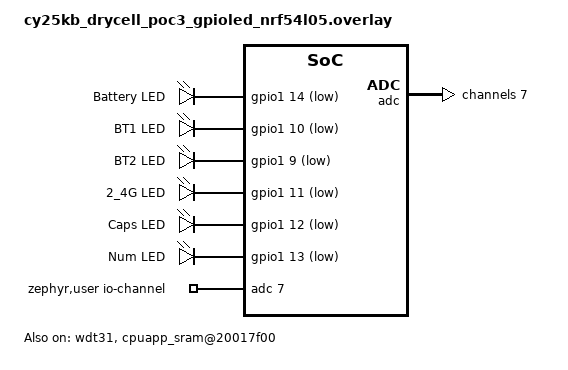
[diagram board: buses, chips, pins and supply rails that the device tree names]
/*
 * Copyright (c) 2024 Nordic Semiconductor ASA
 *
 * SPDX-License-Identifier: LicenseRef-Nordic-5-Clause
 */

/* For nRF54L, watchdog status is disabled by default. Needs to be enabled in DTS overlay. */
&wdt31 {
	status = "okay";
};

/* Application does not use cpuflpr core. Assign whole RRAM to cpuapp. */
&cpuapp_rram {
	reg = < 0x0 DT_SIZE_K(500) >;
};

/ {
	/delete-node/ pwmleds;
    /delete-node/ aliases;
    /delete-node/ buttons;
    /delete-node/ leds;

	leds0 {
		compatible = "gpio-leds";
		status = "okay";
		led0: led_0 {
			gpios = < &gpio1 14 GPIO_ACTIVE_LOW >;
			label = "Battery LED";
		};
	};

	leds1 {
		compatible = "gpio-leds";
		status = "okay";
		led1: led_1 {
			gpios = < &gpio1 10 GPIO_ACTIVE_LOW >;
			label = "BT1 LED";
		};
	};

	leds2 {
		compatible = "gpio-leds";
		status = "okay";
		led2: led_2 {
			gpios = < &gpio1 9 GPIO_ACTIVE_LOW >;
			label = "BT2 LED";
		};
	};

	leds3 {
		compatible = "gpio-leds";
		status = "okay";
		led3: led_3 {
			gpios = < &gpio1 11 GPIO_ACTIVE_LOW >;
			label = "2_4G LED";
		};
	};

	leds4 {
		compatible = "gpio-leds";
		status = "okay";
		led4: led_4 {
			gpios = < &gpio1 12 GPIO_ACTIVE_LOW >;
			label = "Caps LED";
		};
	};

	leds5 {
		compatible = "gpio-leds";
		status = "okay";
		led5: led_5 {
			gpios = < &gpio1 13 GPIO_ACTIVE_LOW >;
			label = "Num LED";
		};
	};
};

&uicr {
    nfct-pins-as-gpios;
};

&uart20 {
    status = "disabled";
};

&spi00 {
    status = "disabled";
};

/ {
	zephyr,user {
		io-channels = <&adc 7>;
	};
};

&adc {
	#address-cells = <1>;
	#size-cells = <0>;

	channel@7 {
		reg = <7>;
		zephyr,gain = "ADC_GAIN_1_4";
		zephyr,reference = "ADC_REF_INTERNAL";
		zephyr,acquisition-time = <ADC_ACQ_TIME_DEFAULT>;
		zephyr,input-positive = <NRF_SAADC_VDD>;
		zephyr,resolution = <12>;
	};
};

&hfxo {
	load-capacitors = "internal";
//	load-capacitance-femtofarad = <8000>;
//	load-capacitance-femtofarad = <12000>;
//	load-capacitance-femtofarad = <14000>;
//	load-capacitance-femtofarad = <15000>;
	load-capacitance-femtofarad = <15500>;
//	load-capacitance-femtofarad = <16000>;

};

/delete-node/ &lfxo;

/ {
	cpuapp_sram@20017f00 {
		compatible = "zephyr,memory-region", "mmio-sram";
		reg = <0x20017f00 0x100>;
		zephyr,memory-region = "RetainedMem";
		status = "okay";

		retainedmem0: retainedmem {
			compatible = "zephyr,retained-ram";
			status = "okay";
		};
	};

	aliases {
		retainedmemdevice0 = &retainedmem0;
	};
};

&cpuapp_sram {
	reg = <0x20000000 0x17f00>;
	ranges = <0x0 0x20000000 0x17f00>;
};

